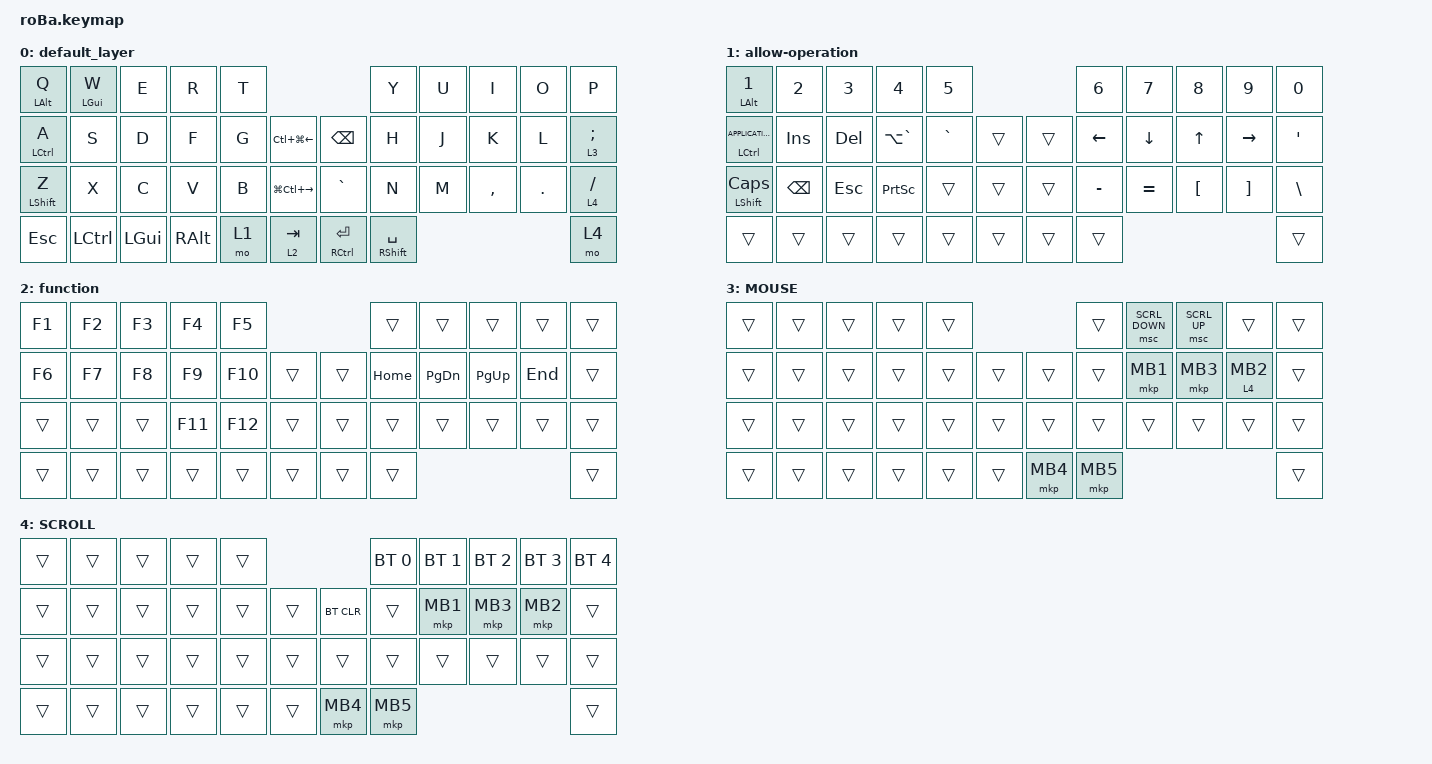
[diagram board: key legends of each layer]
#include <behaviors.dtsi>
#include <dt-bindings/zmk/bt.h>
#include <dt-bindings/zmk/keys.h>
#include <dt-bindings/zmk/pointing.h>

&mt {
    flavor = "balanced";
    quick-tap-ms = <250>;
};

&lt { quick-tap-ms = <250>; };

&trackball {
    scroll-layers = <4>;

    // arrows {
    //     layers = <3>;
    //     bindings =
    //         <&kp RIGHT_ARROW>,
    //         <&kp LEFT_ARROW>,
    //         <&kp UP_ARROW>,
    //         <&kp DOWN_ARROW>;
    //     tick = <10>;
    //     wait-ms = <5>;
    //     tap-ms = <5>;
    // };
};

/ {
    combos {
        compatible = "zmk,combos";

        quate {
            bindings = <&lt 4 SQT>;
            key-positions = <21 20>;
        };

        minus {
            bindings = <&kp MINUS>;
            key-positions = <8 9>;
        };

        equal {
            bindings = <&kp EQUAL>;
            key-positions = <33 32>;
        };

        esc {
            bindings = <&kp ESCAPE>;
            key-positions = <0 1>;
        };

        f13 {
            bindings = <&kp F13>;
            key-positions = <13 12>;
        };

        f14 {
            bindings = <&kp F14>;
            key-positions = <12 11>;
        };

        l-click {
            bindings = <&mkp LCLK>;
            key-positions = <18 19>;
            layers = <3 0>;
        };

        r-click {
            bindings = <&mkp MB2>;
            key-positions = <19 20>;
            layers = <3 0>;
        };

        m-click {
            bindings = <&mkp MB3>;
            key-positions = <20 18>;
            layers = <3 0>;
        };
    };

    macros {
        to_layer_0: to_layer_0 {
            compatible = "zmk,behavior-macro-one-param";
            #binding-cells = <1>;
            bindings = <&to 0 &macro_param_1to1 &kp MACRO_PLACEHOLDER>;
            label = "TO_LAYER_0";
        };

        toggle_and_kp: toggle_win_kp {
            compatible = "zmk,behavior-macro-two-param";
            #binding-cells = <2>;
            bindings = <&macro_param_1to1 &toggle_on MACRO_PLACEHOLDER &macro_param_2to1 &kp MACRO_PLACEHOLDER>;
            label = "TOGGLE_WIN_KP";
        };
    };

    behaviors {
        lt_to_layer_0: lt_to_layer_0 {
            compatible = "zmk,behavior-hold-tap";
            label = "LAYER_TAP_TO_0";
            bindings = <&mo>, <&to_layer_0>;

            #binding-cells = <2>;
            tapping-term-ms = <200>;
        };

        layer_mkp: layer_mkp {
            compatible = "zmk,behavior-hold-tap";
            label = "LAYER_MKP";
            bindings = <&mo>, <&mkp>;

            #binding-cells = <2>;
            tapping-term-ms = <200>;
        };

        layer1_win: layer1_win {
            compatible = "zmk,behavior-tap-dance";
            label = "LAYER1_WIN";
            #binding-cells = <0>;
            bindings = <&mo 1>, <&kp LEFT_GUI>;
        };

        kp_msc: kp_msc {
            compatible = "zmk,behavior-hold-tap";
            label = "KP_MSC";
            bindings = <&kp>, <&msc>;

            #binding-cells = <2>;
            tapping-term-ms = <200>;
        };

        kp_kp: kp_kp {
            compatible = "zmk,behavior-hold-tap";
            label = "KP_KP";
            bindings = <&kp>, <&kp>;

            #binding-cells = <2>;
            tapping-term-ms = <300>;
            flavor = "tap-preferred";
        };

        toggle_on: toggle_on {
            compatible = "zmk,behavior-key-toggle";
            label = "TOGGLE_ON";
            #binding-cells = <1>;
        };

        toggle_off: toggle_off {
            compatible = "zmk,behavior-key-toggle";
            label = "TOGGLE_OFF";
            #binding-cells = <1>;
            toggle-mode = "off";
        };
    };

    keymap {
        compatible = "zmk,keymap";

        default_layer {
            bindings = <
&mt LEFT_ALT Q    &mt LEFT_GUI W  &kp E         &kp R          &kp T                                          &kp Y                  &kp U  &kp I      &kp O    &kp P
&mt LCTRL A       &kp S           &kp D         &kp F          &kp G  &kp LC(LG(LEFT))       &kp BACKSPACE    &kp H                  &kp J  &kp K      &kp L    &lt 3 SEMI
&mt LEFT_SHIFT Z  &kp X           &kp C         &kp V          &kp B  &kp LG(LC(RIGHT))      &kp GRAVE        &kp N                  &kp M  &kp COMMA  &kp DOT  &lt 4 SLASH
&kp ESC           &kp LCTRL       &kp LEFT_GUI  &kp RIGHT_ALT  &mo 1  &lt 2 TAB              &mt RCTRL ENTER  &mt RIGHT_SHIFT SPACE                             &mo 4
            >;
        };

        allow-operation {
            bindings = <
&mt LEFT_ALT NUMBER_1           &kp N2         &kp N3      &kp N4           &kp N5                         &kp N6     &kp N7     &kp N8    &kp N9     &kp N0
&mt LEFT_CONTROL K_APPLICATION  &kp INSERT     &kp DELETE  &kp LA(GRAVE)    &kp GRAVE  &trans      &trans  &kp LEFT   &kp DOWN   &kp UP    &kp RIGHT  &kp APOS
&mt LEFT_SHIFT CAPSLOCK         &kp BACKSPACE  &kp ESCAPE  &kp PRINTSCREEN  &trans     &trans      &trans  &kp MINUS  &kp EQUAL  &kp LBKT  &kp RBKT   &kp BSLH
&trans                          &trans         &trans      &trans           &trans     &trans      &trans  &trans                                     &trans
            >;
        };

        function {
            bindings = <
&kp F1  &kp F2  &kp F3  &kp F4   &kp F5                       &trans    &trans         &trans       &trans   &trans
&kp F6  &kp F7  &kp F8  &kp F9   &kp F10  &trans      &trans  &kp HOME  &kp PAGE_DOWN  &kp PAGE_UP  &kp END  &trans
&trans  &trans  &trans  &kp F11  &kp F12  &trans      &trans  &trans    &trans         &trans       &trans   &trans
&trans  &trans  &trans  &trans   &trans   &trans      &trans  &trans                                         &trans
            >;
        };

        MOUSE {
            bindings = <
&trans  &trans  &trans  &trans  &trans                        &trans    &msc SCRL_DOWN  &msc SCRL_UP  &trans            &trans
&trans  &trans  &trans  &trans  &trans  &trans      &trans    &trans    &mkp MB1        &mkp MB3      &layer_mkp 4 MB2  &trans
&trans  &trans  &trans  &trans  &trans  &trans      &trans    &trans    &trans          &trans        &trans            &trans
&trans  &trans  &trans  &trans  &trans  &trans      &mkp MB4  &mkp MB5                                                  &trans
            >;
        };

        SCROLL {
            bindings = <
&trans  &trans  &trans  &trans  &trans                          &bt BT_SEL 0  &bt BT_SEL 1  &bt BT_SEL 2  &bt BT_SEL 3  &bt BT_SEL 4
&trans  &trans  &trans  &trans  &trans  &trans      &bt BT_CLR  &trans        &mkp MB1      &mkp MB3      &mkp MB2      &trans
&trans  &trans  &trans  &trans  &trans  &trans      &trans      &trans        &trans        &trans        &trans        &trans
&trans  &trans  &trans  &trans  &trans  &trans      &mkp MB4    &mkp MB5                                                &trans
            >;
        };
    };
};
